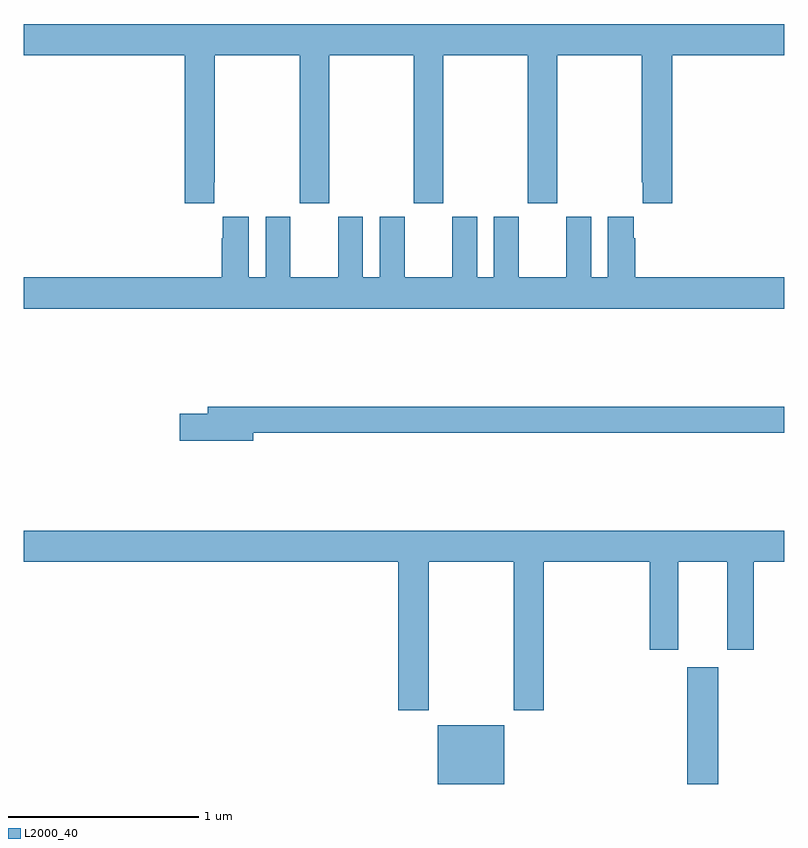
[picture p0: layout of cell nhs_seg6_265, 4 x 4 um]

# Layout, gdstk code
import gdstk
lib = gdstk.Library(unit=1e-6, precision=1e-09)
def R(c, l, rs):  # rectangles x0, y0, x1, y1
    for r in rs: c.add(gdstk.rectangle(r[:2], r[2:], *l))
def P(c, l, *ps):  # polygons
    for p in ps: c.add(gdstk.Polygon(p, *l))
L2000_40 = (2000, 40)

nhs_seg6_265 = lib.new_cell('nhs_seg6_265')
R(nhs_seg6_265, L2000_40, [(127.178,947.5,127.528,947.809), (128.489,947.5,128.653,948.115)])
P(nhs_seg6_265, L2000_40, [(126.001,950.665),(126.006,950.665),(126.006,951.332),(126.451,951.332),(126.451,950.553),(126.606,950.553),(126.606,951.332),(127.051,951.332),(127.051,950.553),(127.206,950.553),(127.206,951.332),(127.651,951.332),(127.651,950.553),(127.806,950.553),(127.806,951.332),(128.251,951.332),(128.251,950.665),(128.255,950.665),(128.255,950.553),(128.411,950.553),(128.411,951.332),(129,951.332),(129,951.496),(125,951.496),(125,951.332),(125.846,951.332),(125.846,950.553),(126.001,950.553)],
  [(129,950.164),(128.216,950.164),(128.216,950.369),(128.209,950.369),(128.209,950.482),(128.072,950.482),(128.072,950.164),(127.984,950.164),(127.984,950.482),(127.853,950.482),(127.853,950.164),(127.603,950.164),(127.603,950.482),(127.472,950.482),(127.472,950.164),(127.384,950.164),(127.384,950.482),(127.253,950.482),(127.253,950.164),(127.003,950.164),(127.003,950.482),(126.872,950.482),(126.872,950.164),(126.784,950.164),(126.784,950.482),(126.653,950.482),(126.653,950.164),(126.403,950.164),(126.403,950.482),(126.272,950.482),(126.272,950.164),(126.184,950.164),(126.184,950.482),(126.047,950.482),(126.047,950.369),(126.041,950.369),(126.041,950.164),(125,950.164),(125,950),(129,950)],
  [(126.208,949.348),(129,949.348),(129,949.484),(125.969,949.484),(125.969,949.448),(125.82,949.448),(125.82,949.306),(126.208,949.306)],
  [(127.131,948.668),(127.576,948.668),(127.576,947.889),(127.736,947.889),(127.736,948.668),(128.291,948.668),(128.291,948.207),(128.443,948.207),(128.443,948.668),(128.699,948.668),(128.699,948.207),(128.839,948.207),(128.839,948.668),(129,948.668),(129,948.832),(125,948.832),(125,948.668),(126.971,948.668),(126.971,947.889),(127.131,947.889)])

lib.write_gds('nhs_seg6_265.gds')
